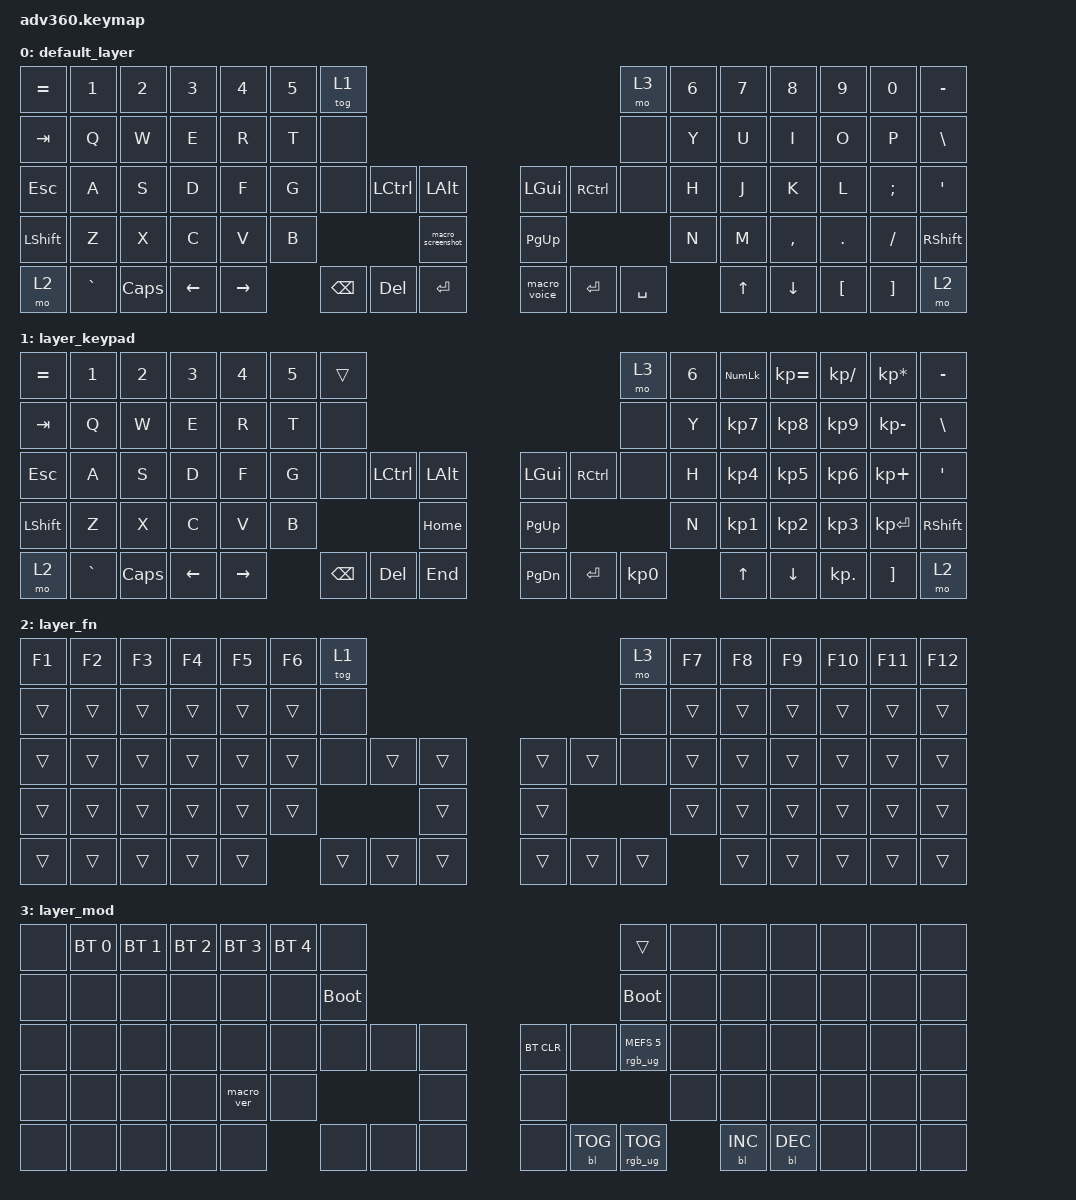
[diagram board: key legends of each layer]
/*
 * Copyright (c) 2020 The ZMK Contributors
 *
 * SPDX-License-Identifier: MIT
 */
/* THIS FILE WAS GENERATED!
 *
 * This file was generated automatically. You may or may not want to
 * edit it directly.
 */

#include <behaviors.dtsi>
#include <dt-bindings/zmk/backlight.h>
#include <dt-bindings/zmk/bt.h>
#include <dt-bindings/zmk/keys.h>
#include <dt-bindings/zmk/rgb.h>

/ {
    behaviors {
        #include "macros.dtsi"
    #include "version.dtsi"

        hm: homerow_mods {
            compatible = "zmk,behavior-hold-tap";
            label = "HOMEROW_MODS";
            #binding-cells = <2>;
            tapping-term-ms = <200>;
            quick_tap_ms = <175>;
            flavor = "tap-preferred";
            bindings = <&kp>, <&kp>;
        };
    };

    combos {
        compatible = "zmk,combos";

        Screenshot {
            bindings = <&kp LG(LS(S))>;
            key-positions = <36>;
        };

        Voice {
            bindings = <&kp LC(LS(O))>;
            key-positions = <68>;
        };

        Space {
            bindings = <&kp SPACE>;
            key-positions = <66>;
        };

        Copy {
            bindings = <&kp LC(C)>;
            key-positions = <52>;
        };

        Paste {
            bindings = <&kp LC(V)>;
            key-positions = <67>;
        };

        Emoji {
            bindings = <&kp LG(PERIOD)>;
            key-positions = <53>;
        };

        BackwardHighlight {
            bindings = <&kp LC(LS(LEFT_ARROW))>;
            key-positions = <20>;
        };

        BackwardLineHighlight {
            bindings = <&kp LC(LS(UP_ARROW))>;
            key-positions = <34>;
        };

        WinKey {
            bindings = <&kp LEFT_WIN>;
            key-positions = <62>;
        };

        Escape {
            bindings = <&kp ESCAPE>;
            key-positions = <14>;
        };

        Tab {
            bindings = <&kp TAB>;
            key-positions = <28>;
        };

        Backspace {
            bindings = <&kp BACKSPACE>;
            key-positions = <65>;
        };

        Delete {
            bindings = <&kp DEL>;
            key-positions = <>;
        };

        Alt {
            bindings = <&kp LEFT_ALT>;
            key-positions = <61>;
        };

        Control {
            bindings = <&kp LEFT_CONTROL>;
            key-positions = <60>;
        };

        Enter {
            bindings = <&kp ENTER>;
            key-positions = <35>;
        };

        LineShiftUp {
            bindings = <&kp LA(LS(UP_ARROW))>;
            key-positions = <21>;
        };

        LineShiftDown {
            bindings = <&kp LA(LS(DOWN))>;
            key-positions = <39>;
        };
    };

    keymap {
        compatible = "zmk,keymap";

        default_layer {
            bindings = <
&kp EQUAL  &kp N1     &kp N2    &kp N3    &kp N4     &kp N5  &tog 1                                                               &mo 3      &kp N6  &kp N7  &kp N8     &kp N9    &kp N0    &kp MINUS
&kp TAB    &kp Q      &kp W     &kp E     &kp R      &kp T   &none                                                                &none      &kp Y   &kp U   &kp I      &kp O     &kp P     &kp BSLH
&kp ESC    &kp A      &kp S     &kp D     &kp F      &kp G   &none     &kp LCTRL  &kp LALT               &kp LGUI      &kp RCTRL  &none      &kp H   &kp J   &kp K      &kp L     &kp SEMI  &kp SQT
&kp LSHFT  &kp Z      &kp X     &kp C     &kp V      &kp B                        &macro_screenshot      &kp PG_UP                           &kp N   &kp M   &kp COMMA  &kp DOT   &kp FSLH  &kp RSHFT
&mo 2      &kp GRAVE  &kp CAPS  &kp LEFT  &kp RIGHT          &kp BSPC  &kp DEL    &kp ENTER              &macro_voice  &kp ENTER  &kp SPACE          &kp UP  &kp DOWN   &kp LBKT  &kp RBKT  &mo 2
            >;
        };

        layer_keypad {
            bindings = <
&kp EQUAL  &kp N1     &kp N2    &kp N3    &kp N4     &kp N5  &trans                                                   &mo 3      &kp N6  &kp KP_NUM  &kp KP_EQUAL  &kp KP_DIVIDE  &kp KP_MULTIPLY  &kp MINUS
&kp TAB    &kp Q      &kp W     &kp E     &kp R      &kp T   &none                                                    &none      &kp Y   &kp KP_N7   &kp KP_N8     &kp KP_N9      &kp KP_MINUS     &kp BSLH
&kp ESC    &kp A      &kp S     &kp D     &kp F      &kp G   &none     &kp LCTRL  &kp LALT      &kp LGUI   &kp RCTRL  &none      &kp H   &kp KP_N4   &kp KP_N5     &kp KP_N6      &kp KP_PLUS      &kp SQT
&kp LSHFT  &kp Z      &kp X     &kp C     &kp V      &kp B                        &kp HOME      &kp PG_UP                        &kp N   &kp KP_N1   &kp KP_N2     &kp KP_N3      &kp KP_ENTER     &kp RSHFT
&mo 2      &kp GRAVE  &kp CAPS  &kp LEFT  &kp RIGHT          &kp BSPC  &kp DEL    &kp END       &kp PG_DN  &kp ENTER  &kp KP_N0          &kp UP      &kp DOWN      &kp KP_DOT     &kp RBKT         &mo 2
            >;
        };

        layer_fn {
            bindings = <
&kp F1  &kp F2  &kp F3  &kp F4  &kp F5  &kp F6  &tog 1                                      &mo 3   &kp F7  &kp F8  &kp F9  &kp F10  &kp F11  &kp F12
&trans  &trans  &trans  &trans  &trans  &trans  &none                                       &none   &trans  &trans  &trans  &trans   &trans   &trans
&trans  &trans  &trans  &trans  &trans  &trans  &none   &trans  &trans      &trans  &trans  &none   &trans  &trans  &trans  &trans   &trans   &trans
&trans  &trans  &trans  &trans  &trans  &trans                  &trans      &trans                  &trans  &trans  &trans  &trans   &trans   &trans
&trans  &trans  &trans  &trans  &trans          &trans  &trans  &trans      &trans  &trans  &trans          &trans  &trans  &trans   &trans   &trans
            >;
        };

        layer_mod {
            bindings = <
&none  &bt BT_SEL 0  &bt BT_SEL 1  &bt BT_SEL 2  &bt BT_SEL 3  &bt BT_SEL 4  &none                                                  &trans                  &none  &none       &none       &none  &none  &none
&none  &none         &none         &none         &none         &none         &bootloader                                            &bootloader             &none  &none       &none       &none  &none  &none
&none  &none         &none         &none         &none         &none         &none        &none  &none      &bt BT_CLR  &none       &rgb_ug RGB_MEFS_CMD 5  &none  &none       &none       &none  &none  &none
&none  &none         &none         &none         &macro_ver    &none                             &none      &none                                           &none  &none       &none       &none  &none  &none
&none  &none         &none         &none         &none                       &none        &none  &none      &none       &bl BL_TOG  &rgb_ug RGB_TOG                &bl BL_INC  &bl BL_DEC  &none  &none  &none
            >;
        };
    };
};
